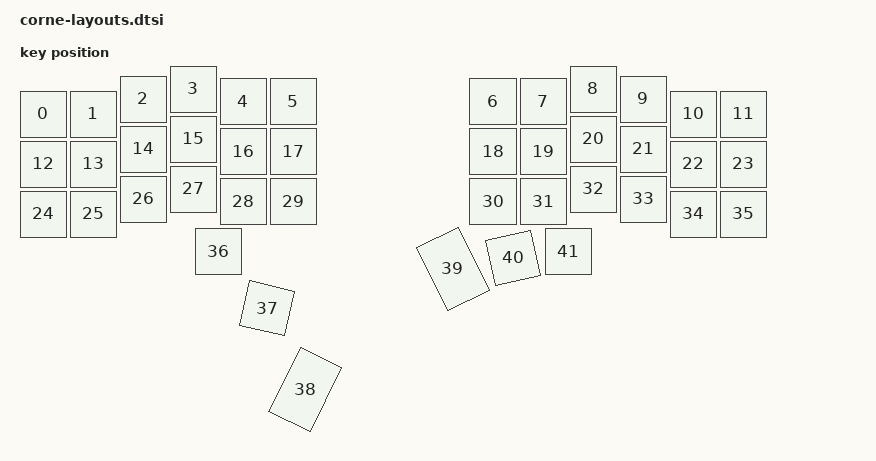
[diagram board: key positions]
#include <physical_layouts.dtsi>

/ {
    layout_0: layout_0 {
        compatible = "zmk,physical-layout";
        display-name = "LAYOUT";

        kscan = <&kscan0>;
        transform = <&default_transform_0>;

        keys  //                     w   h    x    y     rot    rx    ry
            = <&key_physical_attrs 100 100    0   50       0     0     0>
            , <&key_physical_attrs 100 100  100   50       0     0     0>
            , <&key_physical_attrs 100 100  200   20       0     0     0>
            , <&key_physical_attrs 100 100  300    0       0     0     0>
            , <&key_physical_attrs 100 100  400   25       0     0     0>
            , <&key_physical_attrs 100 100  500   25       0     0     0>
            , <&key_physical_attrs 100 100  900   25       0     0     0>
            , <&key_physical_attrs 100 100 1000   25       0     0     0>
            , <&key_physical_attrs 100 100 1100    0       0     0     0>
            , <&key_physical_attrs 100 100 1200   20       0     0     0>
            , <&key_physical_attrs 100 100 1300   50       0     0     0>
            , <&key_physical_attrs 100 100 1400   50       0     0     0>
            , <&key_physical_attrs 100 100    0  150       0     0     0>
            , <&key_physical_attrs 100 100  100  150       0     0     0>
            , <&key_physical_attrs 100 100  200  120       0     0     0>
            , <&key_physical_attrs 100 100  300  100       0     0     0>
            , <&key_physical_attrs 100 100  400  125       0     0     0>
            , <&key_physical_attrs 100 100  500  125       0     0     0>
            , <&key_physical_attrs 100 100  900  125       0     0     0>
            , <&key_physical_attrs 100 100 1000  125       0     0     0>
            , <&key_physical_attrs 100 100 1100  100       0     0     0>
            , <&key_physical_attrs 100 100 1200  120       0     0     0>
            , <&key_physical_attrs 100 100 1300  150       0     0     0>
            , <&key_physical_attrs 100 100 1400  150       0     0     0>
            , <&key_physical_attrs 100 100    0  250       0     0     0>
            , <&key_physical_attrs 100 100  100  250       0     0     0>
            , <&key_physical_attrs 100 100  200  220       0     0     0>
            , <&key_physical_attrs 100 100  300  200       0     0     0>
            , <&key_physical_attrs 100 100  400  225       0     0     0>
            , <&key_physical_attrs 100 100  500  225       0     0     0>
            , <&key_physical_attrs 100 100  900  225       0     0     0>
            , <&key_physical_attrs 100 100 1000  225       0     0     0>
            , <&key_physical_attrs 100 100 1100  200       0     0     0>
            , <&key_physical_attrs 100 100 1200  220       0     0     0>
            , <&key_physical_attrs 100 100 1300  250       0     0     0>
            , <&key_physical_attrs 100 100 1400  250       0     0     0>
            , <&key_physical_attrs 100 100  350  325       0     0     0>
            , <&key_physical_attrs 100 100  450  325    1300     0   425>
            , <&key_physical_attrs 100 150  550  305    2600     0   460>
            , <&key_physical_attrs 100 150  850  305 (-2600)   950   460>
            , <&key_physical_attrs 100 100  950  325 (-1300)  1050   425>
            , <&key_physical_attrs 100 100 1050  325       0     0     0>
            ;
    };
 corne_position_map {
        compatible = "zmk,physical-layout-position-map";

        complete;

        LAYOUT {
            physical-layout = <&layout_0>;
            positions
                = < 0  1  2  3  4  5  6  7  8  9 10 11>
                , <12 13 14 15 16 17 18 19 20 21 22 23>
                , <24 25 26 27 28 29 30 31 32 33 34 35>
                , <         36 37 38 39 40 41         >;
        };
    };
};

